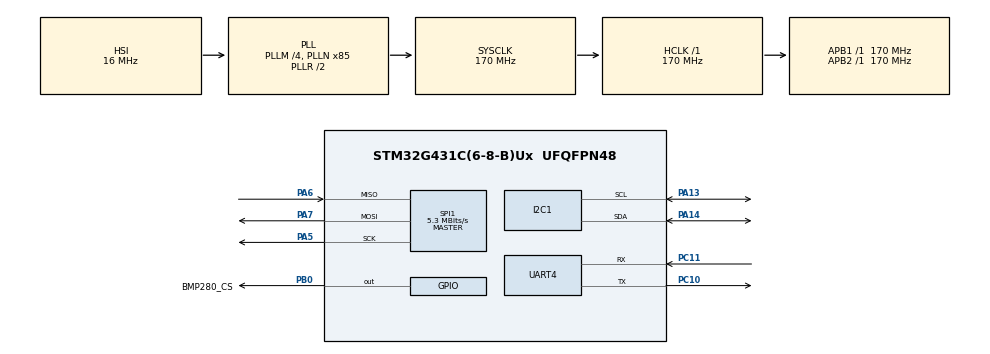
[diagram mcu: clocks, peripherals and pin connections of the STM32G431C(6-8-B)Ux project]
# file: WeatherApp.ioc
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I2C1.Timing=0x40B285C2
Mcu.Family=STM32G4
Mcu.Name=STM32G431C(6-8-B)Ux
Mcu.Package=UFQFPN48
NVIC.PriorityGroup=NVIC_PRIORITYGROUP_4
PA13.Mode=I2C
PA13.Signal=I2C1_SCL
PA14.Mode=I2C
PA14.Signal=I2C1_SDA
PB0.GPIO_Label=BMP280_CS
PB0.Mode=GPIO_Output
PB0.Signal=GPIO_Output
PA5.Mode=Full_Duplex_Master
PA5.Signal=SPI1_SCK
PA6.Mode=Full_Duplex_Master
PA6.Signal=SPI1_MISO
PA7.Mode=Full_Duplex_Master
PA7.Signal=SPI1_MOSI
PC10.Mode=Asynchronous
PC10.Signal=UART4_TX
PC11.Mode=Asynchronous
PC11.Signal=UART4_RX
PC14-OSC32_IN.Mode=LSE-External-Oscillator
PC14-OSC32_IN.Signal=RCC_OSC32_IN
PC15-OSC32_OUT.Mode=LSE-External-Oscillator
PC15-OSC32_OUT.Signal=RCC_OSC32_OUT
PF0-OSC_IN.Mode=HSE-External-Oscillator
PF0-OSC_IN.Signal=RCC_OSC_IN
PF1-OSC_OUT.Mode=HSE-External-Oscillator
PF1-OSC_OUT.Signal=RCC_OSC_OUT
ProjectManager.HeapSize=0x200
ProjectManager.StackSize=0x400
ProjectManager.TargetToolchain=CMake
RCC.ADC12Freq_Value=170000000
RCC.AHBFreq_Value=170000000
RCC.APB1Freq_Value=170000000
RCC.APB1TimFreq_Value=170000000
RCC.APB2Freq_Value=170000000
RCC.APB2TimFreq_Value=170000000
RCC.CortexFreq_Value=170000000
RCC.EXTERNAL_CLOCK_VALUE=12288000
RCC.HCLKFreq_Value=170000000
RCC.HSE_VALUE=8000000
RCC.HSI48_VALUE=48000000
RCC.HSI_VALUE=16000000
RCC.PLLM=RCC_PLLM_DIV4
RCC.PLLN=85
RCC.SYSCLKFreq_VALUE=170000000
RCC.SYSCLKSource=RCC_SYSCLKSOURCE_PLLCLK
RCC.USBFreq_Value=170000000
RCC.VCOOutputFreq_Value=340000000
SPI1.BaudRatePrescaler=SPI_BAUDRATEPRESCALER_32
SPI1.CalculateBaudRate=5.3 MBits/s
SPI1.DataSize=SPI_DATASIZE_8BIT
SPI1.Direction=SPI_DIRECTION_2LINES
SPI1.Mode=SPI_MODE_MASTER
SPI1.VirtualType=VM_MASTER
VP_SYS_VS_DBSignals.Mode=DisableDeadBatterySignals
board=custom

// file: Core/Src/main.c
/* USER CODE BEGIN Header */
/**
  ******************************************************************************
  * @file           : main.c
  * @brief          : Main program body
  ******************************************************************************
  * @attention
  *
  * Copyright (c) 2026 STMicroelectronics.
  * All rights reserved.
  *
  * This software is licensed under terms that can be found in the LICENSE file
  * in the root directory of this software component.
  * If no LICENSE file comes with this software, it is provided AS-IS.
  *
  ******************************************************************************
  */
/* USER CODE END Header */
#include "main.h"

/* USER CODE BEGIN Includes */
#include "bmp280.h"
#include <stdio.h>
#include <string.h>
/* USER CODE END Includes */

I2C_HandleTypeDef hi2c1;

SPI_HandleTypeDef hspi1;

UART_HandleTypeDef huart4;

/* USER CODE BEGIN PV */
bmp280_t bmp_pressure;
bmp280_t bmp_temp;

#define P_FILTER_N 5
static float p_hist[P_FILTER_N];
static uint8_t p_idx = 0;
static uint8_t p_cnt = 0;
/* USER CODE END PV */

void SystemClock_Config(void);
static void MX_GPIO_Init(void);
static void MX_I2C1_Init(void);
static void MX_SPI1_Init(void);
static void MX_UART4_Init(void);

int main(void)
{

  /* MCU Configuration--------------------------------------------------------*/

  /* Reset of all peripherals, Initializes the Flash interface and the Systick. */
  HAL_Init();

  /* Configure the system clock */
  SystemClock_Config();

  /* Initialize all configured peripherals */
  MX_GPIO_Init();
  MX_I2C1_Init();
  MX_SPI1_Init();
  MX_UART4_Init();
  /* USER CODE BEGIN 2 */
  bmp280_status_t st_p = bmp280_init_i2c(&bmp_pressure, &hi2c1, BMP280_I2C_ADDR_DEFAULT);
  bmp280_status_t st_t = bmp280_init_spi(&bmp_temp, &hspi1, BMP280_CS_GPIO_Port, BMP280_CS_Pin);

  char msg[96];
  uint16_t len = sprintf(msg, "BMP280 I2C(P)=%u  BMP280 SPI(T)=%u\r\n",
                         (unsigned)st_p, (unsigned)st_t);
  HAL_UART_Transmit(&huart4, (uint8_t *)msg, len, HAL_MAX_DELAY);
  /* USER CODE END 2 */

  /* Infinite loop */
  while (1)
  {

    /* USER CODE BEGIN 3 */
    float hpa = 0.0f;
    float deg_c = 0.0f;
    bmp280_status_t st1 = bmp280_read_pressure(&bmp_pressure, &hpa);
    bmp280_status_t st2 = bmp280_read_temperature(&bmp_temp, &deg_c);

    if ((st1 == BMP280_OK) && (st2 == BMP280_OK))
    {
      p_hist[p_idx] = hpa;
      p_idx = (uint8_t)((p_idx + 1U) % P_FILTER_N);
      if (p_cnt < P_FILTER_N)
      {
        p_cnt++;
      }
      float p_sum = 0.0f;
      for (uint8_t i = 0; i < p_cnt; i++)
      {
        p_sum += p_hist[i];
      }
      hpa = p_sum / (float)p_cnt;

      int32_t pc = (int32_t)(hpa * 100.0f + 0.5f);
      int32_t tc = (int32_t)(deg_c >= 0.0f ? (deg_c * 100.0f + 0.5f)
                                            : (deg_c * 100.0f - 0.5f));
      uint32_t tu = (uint32_t)(tc < 0 ? -tc : tc);

      len = sprintf(msg, "P=%ld.%02ld hPa  T=%c%lu.%02lu C\r\n",
                    (long)(pc / 100), (long)(pc % 100),
                    (tc < 0) ? '-' : '+',
                    (unsigned long)(tu / 100), (unsigned long)(tu % 100));
    }
    else
    {
      len = sprintf(msg, "Sensor error: P=%u T=%u\r\n",
                    (unsigned)st1, (unsigned)st2);
    }

    HAL_UART_Transmit(&huart4, (uint8_t *)msg, len, HAL_MAX_DELAY);
    HAL_Delay(1000);
  }
  /* USER CODE END 3 */
}

void SystemClock_Config(void)
{
  RCC_OscInitTypeDef RCC_OscInitStruct = {0};
  RCC_ClkInitTypeDef RCC_ClkInitStruct = {0};

  /** Configure the main internal regulator output voltage
  */
  HAL_PWREx_ControlVoltageScaling(PWR_REGULATOR_VOLTAGE_SCALE1_BOOST);

  /** Initializes the RCC Oscillators according to the specified parameters
  * in the RCC_OscInitTypeDef structure.
  */
  RCC_OscInitStruct.OscillatorType = RCC_OSCILLATORTYPE_HSI;
  RCC_OscInitStruct.HSIState = RCC_HSI_ON;
  RCC_OscInitStruct.HSICalibrationValue = RCC_HSICALIBRATION_DEFAULT;
  RCC_OscInitStruct.PLL.PLLState = RCC_PLL_ON;
  RCC_OscInitStruct.PLL.PLLSource = RCC_PLLSOURCE_HSI;
  RCC_OscInitStruct.PLL.PLLM = RCC_PLLM_DIV4;
  RCC_OscInitStruct.PLL.PLLN = 85;
  RCC_OscInitStruct.PLL.PLLP = RCC_PLLP_DIV2;
  RCC_OscInitStruct.PLL.PLLQ = RCC_PLLQ_DIV2;
  RCC_OscInitStruct.PLL.PLLR = RCC_PLLR_DIV2;
  if (HAL_RCC_OscConfig(&RCC_OscInitStruct) != HAL_OK)
  {
    Error_Handler();
  }

  /** Initializes the CPU, AHB and APB buses clocks
  */
  RCC_ClkInitStruct.ClockType = RCC_CLOCKTYPE_HCLK|RCC_CLOCKTYPE_SYSCLK
                              |RCC_CLOCKTYPE_PCLK1|RCC_CLOCKTYPE_PCLK2;
  RCC_ClkInitStruct.SYSCLKSource = RCC_SYSCLKSOURCE_PLLCLK;
  RCC_ClkInitStruct.AHBCLKDivider = RCC_SYSCLK_DIV1;
  RCC_ClkInitStruct.APB1CLKDivider = RCC_HCLK_DIV1;
  RCC_ClkInitStruct.APB2CLKDivider = RCC_HCLK_DIV1;

  if (HAL_RCC_ClockConfig(&RCC_ClkInitStruct, FLASH_LATENCY_4) != HAL_OK)
  {
    Error_Handler();
  }
}

static void MX_I2C1_Init(void)
{

  hi2c1.Instance = I2C1;
  hi2c1.Init.Timing = 0x40B285C2;
  hi2c1.Init.OwnAddress1 = 0;
  hi2c1.Init.AddressingMode = I2C_ADDRESSINGMODE_7BIT;
  hi2c1.Init.DualAddressMode = I2C_DUALADDRESS_DISABLE;
  hi2c1.Init.OwnAddress2 = 0;
  hi2c1.Init.OwnAddress2Masks = I2C_OA2_NOMASK;
  hi2c1.Init.GeneralCallMode = I2C_GENERALCALL_DISABLE;
  hi2c1.Init.NoStretchMode = I2C_NOSTRETCH_DISABLE;
  if (HAL_I2C_Init(&hi2c1) != HAL_OK)
  {
    Error_Handler();
  }

  /** Configure Analogue filter
  */
  if (HAL_I2CEx_ConfigAnalogFilter(&hi2c1, I2C_ANALOGFILTER_ENABLE) != HAL_OK)
  {
    Error_Handler();
  }

  /** Configure Digital filter
  */
  if (HAL_I2CEx_ConfigDigitalFilter(&hi2c1, 0) != HAL_OK)
  {
    Error_Handler();
  }

}

static void MX_SPI1_Init(void)
{

  /* SPI1 parameter configuration*/
  hspi1.Instance = SPI1;
  hspi1.Init.Mode = SPI_MODE_MASTER;
  hspi1.Init.Direction = SPI_DIRECTION_2LINES;
  hspi1.Init.DataSize = SPI_DATASIZE_8BIT;
  hspi1.Init.CLKPolarity = SPI_POLARITY_LOW;
  hspi1.Init.CLKPhase = SPI_PHASE_1EDGE;
  hspi1.Init.NSS = SPI_NSS_SOFT;
  hspi1.Init.BaudRatePrescaler = SPI_BAUDRATEPRESCALER_32;
  hspi1.Init.FirstBit = SPI_FIRSTBIT_MSB;
  hspi1.Init.TIMode = SPI_TIMODE_DISABLE;
  hspi1.Init.CRCCalculation = SPI_CRCCALCULATION_DISABLE;
  hspi1.Init.CRCPolynomial = 7;
  hspi1.Init.CRCLength = SPI_CRC_LENGTH_DATASIZE;
  hspi1.Init.NSSPMode = SPI_NSS_PULSE_ENABLE;
  if (HAL_SPI_Init(&hspi1) != HAL_OK)
  {
    Error_Handler();
  }

}

static void MX_UART4_Init(void)
{

  huart4.Instance = UART4;
  huart4.Init.BaudRate = 115200;
  huart4.Init.WordLength = UART_WORDLENGTH_8B;
  huart4.Init.StopBits = UART_STOPBITS_1;
  huart4.Init.Parity = UART_PARITY_NONE;
  huart4.Init.Mode = UART_MODE_TX_RX;
  huart4.Init.HwFlowCtl = UART_HWCONTROL_NONE;
  huart4.Init.OverSampling = UART_OVERSAMPLING_16;
  huart4.Init.OneBitSampling = UART_ONE_BIT_SAMPLE_DISABLE;
  huart4.Init.ClockPrescaler = UART_PRESCALER_DIV1;
  huart4.AdvancedInit.AdvFeatureInit = UART_ADVFEATURE_NO_INIT;
  if (HAL_UART_Init(&huart4) != HAL_OK)
  {
    Error_Handler();
  }
  if (HAL_UARTEx_SetTxFifoThreshold(&huart4, UART_TXFIFO_THRESHOLD_1_8) != HAL_OK)
  {
    Error_Handler();
  }
  if (HAL_UARTEx_SetRxFifoThreshold(&huart4, UART_RXFIFO_THRESHOLD_1_8) != HAL_OK)
  {
    Error_Handler();
  }
  if (HAL_UARTEx_DisableFifoMode(&huart4) != HAL_OK)
  {
    Error_Handler();
  }

}

static void MX_GPIO_Init(void)
{

  /* GPIO Ports Clock Enable */
  __HAL_RCC_GPIOC_CLK_ENABLE();
  __HAL_RCC_GPIOF_CLK_ENABLE();
  __HAL_RCC_GPIOA_CLK_ENABLE();

  /* USER CODE BEGIN MX_GPIO_Init_2 */
  __HAL_RCC_GPIOB_CLK_ENABLE();
  GPIO_InitTypeDef GPIO_InitStruct = {0};
  GPIO_InitStruct.Pin = BMP280_CS_Pin;
  GPIO_InitStruct.Mode = GPIO_MODE_OUTPUT_PP;
  GPIO_InitStruct.Pull = GPIO_NOPULL;
  GPIO_InitStruct.Speed = GPIO_SPEED_FREQ_LOW;
  HAL_GPIO_Init(BMP280_CS_GPIO_Port, &GPIO_InitStruct);
  HAL_GPIO_WritePin(BMP280_CS_GPIO_Port, BMP280_CS_Pin, GPIO_PIN_SET);
  /* USER CODE END MX_GPIO_Init_2 */
}

void Error_Handler(void)
{
  __disable_irq();
  while (1)
  {
  }
}
